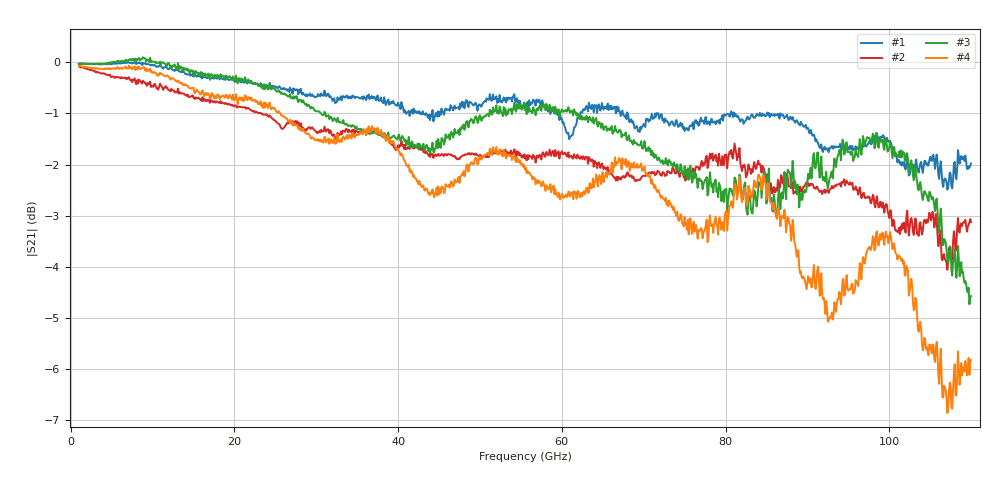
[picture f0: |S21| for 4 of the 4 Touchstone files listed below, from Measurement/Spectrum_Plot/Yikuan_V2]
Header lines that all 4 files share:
!Keysight Technologies,N5222B,MY58421742,A.17.00.05
!Correction: S11(C  2-Port  )
!S21(C  2-Port  )
!S12(C  2-Port  )
!S22(C  2-Port  )
!S2P File: Measurements: S11, S21, S12, S22:
# Hz S  dB  R 50
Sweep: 1 GHz to 110 GHz
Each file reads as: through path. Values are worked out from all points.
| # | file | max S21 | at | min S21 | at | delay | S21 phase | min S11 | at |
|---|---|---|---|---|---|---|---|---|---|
| 1 | m1_l.s2p | 0.01 dB | 6.7 GHz | -2.5 dB | 107.1 GHz | 7.32 ps | -147 deg at 55.5 GHz | -63.2 dB | 100.4 GHz |
| 2 | m1_ll.s2p | -0.08 dB | 1 GHz | -4.1 dB | 107.1 GHz | 23 ps | -101 deg at 55.5 GHz | -58.6 dB | 96.4 GHz |
| 3 | m3_l.s2p | 0.10 dB | 8.8 GHz | -4.7 dB | 109.8 GHz | 14.6 ps | 69 deg at 55.5 GHz | -40.5 dB | 1 GHz |
| 4 | m3_ll.s2p | -0.07 dB | 7.1 GHz | -6.9 dB | 107.1 GHz | 34.4 ps | 26 deg at 55.5 GHz | -50.0 dB | 7.6 GHz |
